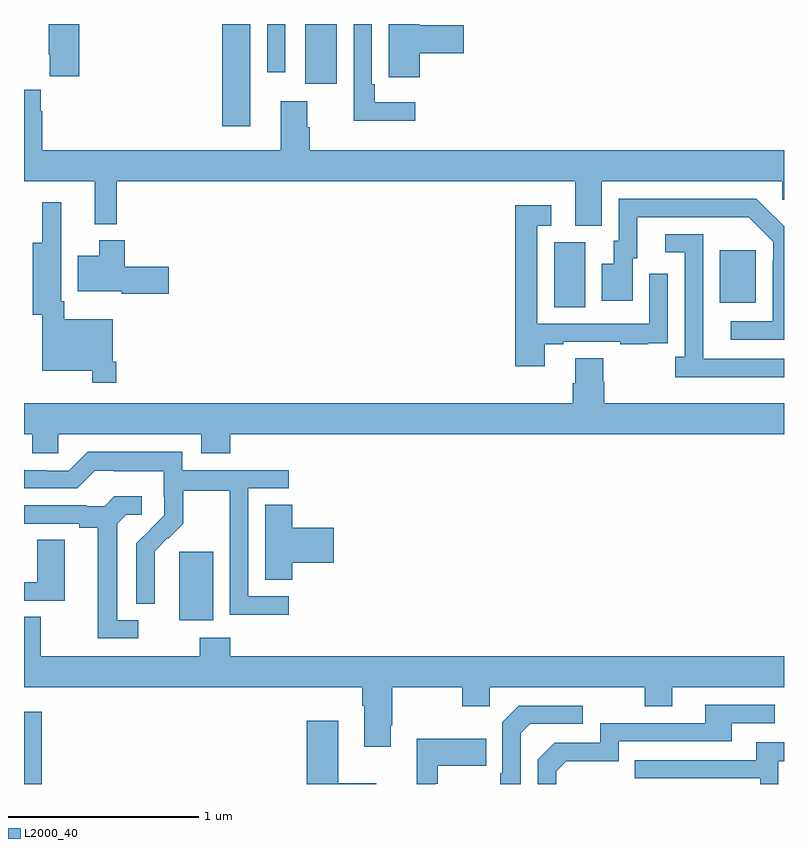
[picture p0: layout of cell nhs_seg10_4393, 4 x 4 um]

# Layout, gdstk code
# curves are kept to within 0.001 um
import gdstk
lib = gdstk.Library(unit=1e-6, precision=1e-09)
def R(c, l, rs):  # rectangles x0, y0, x1, y1
    for r in rs: c.add(gdstk.rectangle(r[:2], r[2:], *l))
def P(c, l, *ps):  # polygons
    for p in ps: c.add(gdstk.Polygon(p, *l))
L2000_40 = (2000, 40)

nhs_seg10_4393 = lib.new_cell('nhs_seg10_4393')
R(nhs_seg10_4393, L2000_40, [(359,1274.5,359.093,1274.881), (359.816,1275.362,359.995,1275.723), (361.79,1277.008,361.954,1277.352), (362.663,1277.033,362.851,1277.308), (360.044,1277.961,360.19,1278.5), (360.479,1278.186,360.646,1278.5), (360.279,1278.246,360.375,1278.5)])
P(nhs_seg10_4393, L2000_40, [(361.082,1278.347),(361.315,1278.347),(361.315,1278.494),(361.082,1278.494),(361.082,1278.5),(360.92,1278.5),(360.92,1278.331),(360.921,1278.331),(360.921,1278.219),(361.082,1278.219)],
  [(361.06,1278.088),(360.847,1278.088),(360.847,1278.184),(360.831,1278.184),(360.831,1278.5),(360.735,1278.5),(360.735,1277.99),(361.06,1277.99)],
  [(359.291,1278.5),(359.131,1278.5),(359.131,1278.337),(359.135,1278.337),(359.135,1278.225),(359.291,1278.225)],
  [(362.041,1277.672),(362.991,1277.672),(362.991,1277.574),(363,1277.574),(363,1277.836),(360.503,1277.836),(360.503,1277.957),(360.49,1277.957),(360.49,1278.094),(360.35,1278.094),(360.35,1277.836),(359.096,1277.836),(359.096,1278.041),(359.089,1278.041),(359.089,1278.154),(359,1278.154),(359,1277.672),(359.372,1277.672),(359.372,1277.447),(359.489,1277.447),(359.489,1277.672),(361.901,1277.672),(361.901,1277.437),(362.041,1277.437)],
  [(363,1277.436),(362.854,1277.58),(362.13,1277.58),(362.13,1277.358),(362.105,1277.358),(362.105,1277.239),(362.042,1277.239),(362.042,1277.043),(362.203,1277.043),(362.203,1277.268),(362.227,1277.268),(362.227,1277.484),(362.815,1277.484),(362.943,1277.355),(362.943,1277.255),(362.94,1277.255),(362.94,1276.935),(362.721,1276.935),(362.721,1276.839),(363,1276.839)],
  [(359.486,1276.723),(359.466,1276.723),(359.466,1276.945),(359.213,1276.945),(359.213,1277.041),(359.195,1277.041),(359.195,1277.563),(359.096,1277.563),(359.096,1277.35),(359.045,1277.35),(359.045,1276.97),(359.096,1276.97),(359.096,1276.676),(359.358,1276.676),(359.358,1276.611),(359.486,1276.611)],
  [(361.741,1276.815),(361.837,1276.815),(361.837,1276.827),(362.137,1276.827),(362.137,1276.815),(362.285,1276.815),(362.285,1276.821),(362.387,1276.821),(362.387,1276.93),(362.388,1276.93),(362.388,1277.185),(362.292,1277.185),(362.292,1276.923),(361.701,1276.923),(361.701,1277.439),(361.774,1277.439),(361.774,1277.545),(361.585,1277.545),(361.585,1276.698),(361.741,1276.698)],
  [(363,1276.737),(362.575,1276.737),(362.575,1276.937),(362.574,1276.937),(362.574,1277.394),(362.376,1277.394),(362.376,1277.298),(362.478,1277.298),(362.478,1276.75),(362.427,1276.75),(362.427,1276.64),(363,1276.64)],
  [(359.761,1277.223),(359.531,1277.223),(359.531,1277.362),(359.396,1277.362),(359.396,1277.281),(359.282,1277.281),(359.282,1277.093),(359.514,1277.093),(359.514,1277.081),(359.761,1277.081)],
  [(360.086,1276.34),(363,1276.34),(363,1276.504),(362.054,1276.504),(362.054,1276.617),(362.049,1276.617),(362.049,1276.742),(361.901,1276.742),(361.901,1276.61),(361.889,1276.61),(361.889,1276.504),(359,1276.504),(359,1276.34),(359.043,1276.34),(359.043,1276.242),(359.181,1276.242),(359.181,1276.34),(359.933,1276.34),(359.933,1276.241),(360.086,1276.241)],
  [(360.394,1275.489),(360.18,1275.489),(360.18,1276.056),(360.394,1276.056),(360.394,1276.152),(359.832,1276.152),(359.832,1276.249),(359.335,1276.249),(359.235,1276.149),(359.12,1276.149),(359.12,1276.152),(359,1276.153),(359,1276.056),(359.28,1276.056),(359.373,1276.149),(359.473,1276.149),(359.473,1276.145),(359.736,1276.145),(359.736,1276.011),(359.738,1276.011),(359.738,1275.914),(359.592,1275.766),(359.592,1275.448),(359.688,1275.448),(359.687,1275.725),(359.757,1275.795),(359.76,1275.792),(359.837,1275.869),(359.837,1276.044),(360.082,1276.044),(360.082,1275.82),(360.084,1275.82),(360.084,1275.391),(360.394,1275.391)],
  [(359.602,1275.363),(359.491,1275.363),(359.491,1275.871),(359.538,1275.918),(359.62,1275.918),(359.62,1276.015),(359.476,1276.015),(359.424,1275.963),(359.33,1275.963),(359.33,1275.966),(359,1275.966),(359,1275.87),(359.291,1275.87),(359.291,1275.848),(359.387,1275.848),(359.387,1275.267),(359.602,1275.267)],
  [(360.413,1275.665),(360.631,1275.665),(360.631,1275.848),(360.413,1275.848),(360.413,1275.971),(360.269,1275.971),(360.269,1275.574),(360.413,1275.574)],
  [(359.215,1275.785),(359.07,1275.785),(359.07,1275.561),(359,1275.561),(359,1275.465),(359.215,1275.465)],
  [(360.931,1274.809),(360.939,1274.809),(360.939,1275.008),(361.306,1275.008),(361.306,1274.909),(361.452,1274.909),(361.452,1275.008),(362.266,1275.008),(362.266,1274.909),(362.413,1274.909),(362.413,1275.008),(363,1275.008),(363,1275.172),(360.086,1275.172),(360.086,1275.271),(359.926,1275.271),(359.926,1275.172),(359.089,1275.172),(359.089,1275.38),(359,1275.38),(359,1275.008),(360.779,1275.008),(360.779,1274.912),(360.791,1274.912),(360.791,1274.697),(360.931,1274.697)],
  [(361.8,1274.568),(361.853,1274.621),(362.13,1274.621),(362.13,1274.724),(362.725,1274.724),(362.725,1274.82),(362.95,1274.82),(362.95,1274.916),(362.585,1274.916),(362.585,1274.82),(362.034,1274.82),(362.034,1274.718),(361.794,1274.718),(361.704,1274.628),(361.704,1274.5),(361.8,1274.5)],
  [(361.614,1274.766),(361.665,1274.817),(361.942,1274.817),(361.942,1274.913),(361.605,1274.913),(361.518,1274.826),(361.518,1274.557),(361.506,1274.557),(361.506,1274.5),(361.614,1274.5)],
  [(360.853,1274.503),(360.655,1274.503),(360.655,1274.833),(360.488,1274.833),(360.488,1274.5),(360.853,1274.5)],
  [(361.164,1274.501),(361.177,1274.501),(361.177,1274.597),(361.433,1274.597),(361.433,1274.737),(361.067,1274.737),(361.067,1274.5),(361.164,1274.5)],
  [(362.97,1274.619),(363,1274.619),(363,1274.719),(362.855,1274.719),(362.855,1274.625),(362.215,1274.625),(362.215,1274.529),(362.874,1274.529),(362.874,1274.5),(362.97,1274.5)])

lib.write_gds('nhs_seg10_4393.gds')
